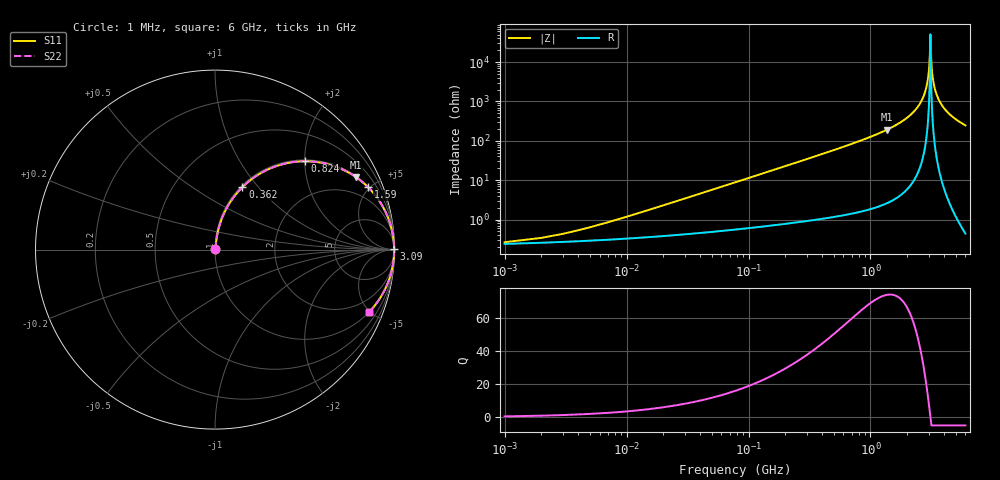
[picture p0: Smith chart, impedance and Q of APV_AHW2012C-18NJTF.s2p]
! APV AHW2012C-18NJTF 18 nH 0805 wire-wound (proposed L1 match inductor)
! Lumped model fitted to APV datasheet: Q=50@500MHz, SRF=3100MHz, DCR=0.2 ohm
! Model: (L + DCR + k*sqrt(f)) || Cp ; L=1.8e-08 H, Cp=1.46e-13 F, k=4.03e-05
! Generated by script - an estimate, not a measurement
! Series-thru 2-port: part connected between port 1 and port 2.
# Hz S RI R 50
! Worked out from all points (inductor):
!   1500 points, 1 MHz to 6 GHz, reference 50 ohm
!   read as one part in series: L = 18 nH near 9 MHz
!   highest Q = 73.7 at 1.37 GHz (marker M1), where L = 22.4 nH
!   self-resonance near 3.09 GHz
!   S11 on the Smith chart (normalised r, x): 1 MHz: 1.00, +0.00; 362 MHz: 1.02, +0.83; 824 MHz: 1.03, +2.01; 1.59 GHz: 1.07, +4.88; 3.09 GHz: open; 6 GHz: 1.01, -4.94
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1000000  0.0024 0.00113  0.9976 -0.00113  0.9976 -0.00113  0.0024 0.00113
5000000  0.00292 0.00562  0.9971 -0.00562  0.9971 -0.00562  0.00292 0.00562
1.9e7  0.0042 0.0213  0.9958 -0.0213  0.9958 -0.0213  0.0042 0.0213
7.8e7  0.0131 0.0866  0.9869 -0.0866  0.9869 -0.0866  0.0131 0.0866
3.31e8  0.1316 0.3257  0.8684 -0.3257  0.8684 -0.3257  0.1316 0.3257
3.62e8  0.1529 0.3481  0.8471 -0.3481  0.8471 -0.3481  0.1529 0.3481
8.24e8  0.5014 0.4922  0.4986 -0.4922  0.4986 -0.4922  0.5014 0.4922
1.37e9  0.7844 0.4045  0.2156 -0.4045  0.2156 -0.4045  0.7844 0.4045
1.41e9  0.7985 0.3944  0.2015 -0.3944  0.2015 -0.3944  0.7985 0.3944
1.59e9  0.8528 0.3475  0.1472 -0.3475  0.1472 -0.3475  0.8528 0.3475
2.16e9  0.9545 0.2003  0.0455 -0.2003  0.0455 -0.2003  0.9545 0.2003
2.63e9  0.9887 0.0929  0.0113 -0.0929  0.0113 -0.0929  0.9887 0.0929
2.91e9  0.9965 0.0359  0.00348 -0.0359  0.00348 -0.0359  0.9965 0.0359
2.98e9  0.9974 0.0224  0.00261 -0.0224  0.00261 -0.0224  0.9974 0.0224
3.05e9  0.9979 0.00922  0.00212 -0.00922  0.00212 -0.00922  0.9979 0.00922
3.09e9  0.998 0.00182  0.002 -0.00182  0.002 -0.00182  0.998 0.00182
3.14e9  0.998 -0.0073  0.002 0.0073  0.002 0.0073  0.998 -0.0073
3.22e9  0.9977 -0.0216  0.00234 0.0216  0.00234 0.0216  0.9977 -0.0216
3.31e9  0.9968 -0.0372  0.00319 0.0372  0.00319 0.0372  0.9968 -0.0372
3.65e9  0.9898 -0.0925  0.0102 0.0925  0.0102 0.0925  0.9898 -0.0925
4.43e9  0.9575 -0.1989  0.0425 0.1989  0.0425 0.1989  0.9575 -0.1989
6e9  0.8588 -0.3473  0.1412 0.3473  0.1412 0.3473  0.8588 -0.3473
